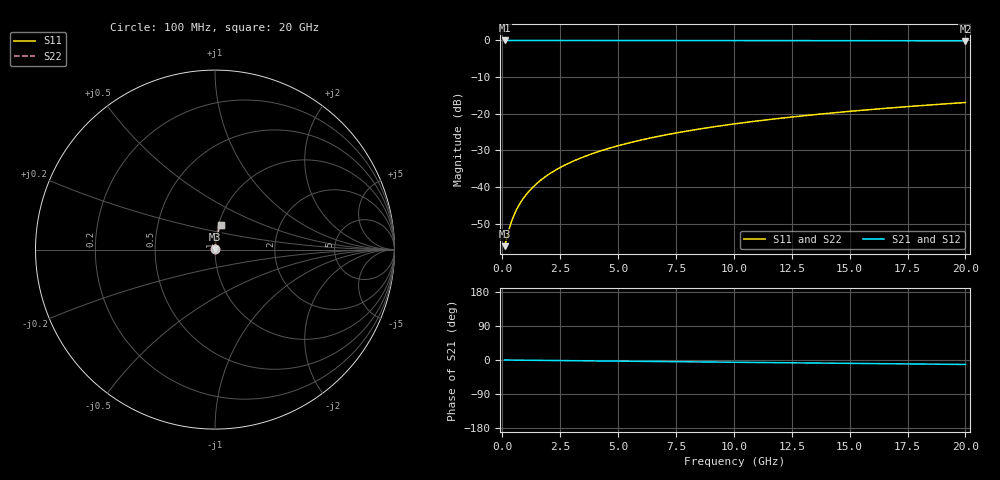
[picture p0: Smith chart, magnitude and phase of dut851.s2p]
! Touchstone file exported from HFSS 2026.1.0
!  File:  C:/ffzhzh/LocalFiles/Ansys_Project_Files/temp_train_BSMRDL_851_1783170569_43440.aedt
!  Generated:  09:10:41 PM Jul  4, 2026
!  Design:  BSMRDL
!  Project:  temp_train_BSMRDL_851_1783170569_43440
! Variables:
!  h_bsmrdl = 2.28um
!  h_ox = 20um
!  h_rdl = 5um
!  h_sub = 80um
!  h_tmrdl = 5um
!  h_tsv = 80um
!  h_via = 3um
!  l_bsmrdl = 112.76um
!  l_sub = 512.76um
!  l_tmrdl = 200um
!  m_sub = 200um
!  pitch = 46.91um
!  r_tsv = 6um
!  s_tmrdl = 10um
!  w_bsmrdl = 17.59um
!  w_sub = 500um
!  w_tmrdl = 12um
!  x_tsv_center1 = 206um
!  x_tsv_center2 = 336.35um
!  x_tsv_center3 = 548.35um
!  x_tsv_center4 = 678.7um
!  x_tsv_center5 = 890.7um
!  x_tsv_center6 = 1021.05um
# GHz S MA R 50.000000
! Terminal data exported
! Port[1] = BSM_RDL1_1_T1
! Port[2] = BSM_RDL1_1_T2
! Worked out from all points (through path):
!   200 points, 100 MHz to 20 GHz, reference 50 ohm
!   highest |S21| = -0.01 dB at 100 MHz (marker M1); lowest = -0.1 dB at 20 GHz (marker M2)
!   group delay of S21, straight-line fit = 1.63 ps
!   lowest |S11| = -56.2 dB at 100 MHz (marker M3), VSWR 1.00, Z = 50.1 + j0.0776 ohm
!   |S11| at or under -10 dB: start of sweep to end of sweep
!   |S22| runs from -56.2 to -17.0 dB; largest |S21 - S12| = 6.1e-15
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0.1  0.001553 29.9  0.9987 -0.1  0.9987 -0.1  0.001553 29.9
! Gamma 0 0 0 0
! Port Impedance 50 0 50 0
0.3  0.002694 58.8  0.9986 -0.2  0.9986 -0.2  0.002694 58.8
0.4  0.003376 64.9  0.9986 -0.2  0.9986 -0.2  0.003376 64.9
0.5  0.004077 68.9  0.9985 -0.3  0.9985 -0.3  0.004077 68.9
0.6  0.004785 71.6  0.9985 -0.4  0.9985 -0.4  0.004785 71.6
0.8  0.006206 75.2  0.9985 -0.5  0.9985 -0.5  0.006206 75.2
1.1  0.008344 78.4  0.9984 -0.7  0.9984 -0.7  0.008344 78.4
1.3  0.009774 79.7  0.9983 -0.8  0.9983 -0.8  0.009773 79.7
1.5  0.01121 80.7  0.9983 -0.9  0.9983 -0.9  0.01121 80.7
1.8  0.01336 81.7  0.9982 -1.1  0.9982 -1.1  0.01336 81.7
2.1  0.01552 82.5  0.9982 -1.3  0.9982 -1.3  0.01552 82.5
2.7  0.01985 83.4  0.9981 -1.6  0.9981 -1.6  0.01985 83.4
3.5  0.02564 83.9  0.9979 -2.1  0.9979 -2.1  0.02564 83.9
4.2  0.0307 84.1  0.9977 -2.5  0.9977 -2.5  0.0307 84.1
5  0.03648 84.0  0.9974 -3.0  0.9974 -3.0  0.03648 84.0
5.9  0.04298 83.9  0.9971 -3.5  0.9971 -3.5  0.04298 83.9
6.8  0.04946 83.6  0.9967 -4.0  0.9967 -4.0  0.04946 83.6
8.3  0.06023 83.0  0.996 -4.9  0.996 -4.9  0.06023 83.0
10.1  0.07307 82.1  0.9949 -6.0  0.9949 -6.0  0.07307 82.1
13.4  0.09638 80.4  0.9926 -7.9  0.9926 -7.9  0.09638 80.4
16.7  0.1193 78.6  0.9897 -9.8  0.9897 -9.8  0.1193 78.6
20  0.1419 76.8  0.9863 -11.7  0.9863 -11.7  0.1419 76.8
